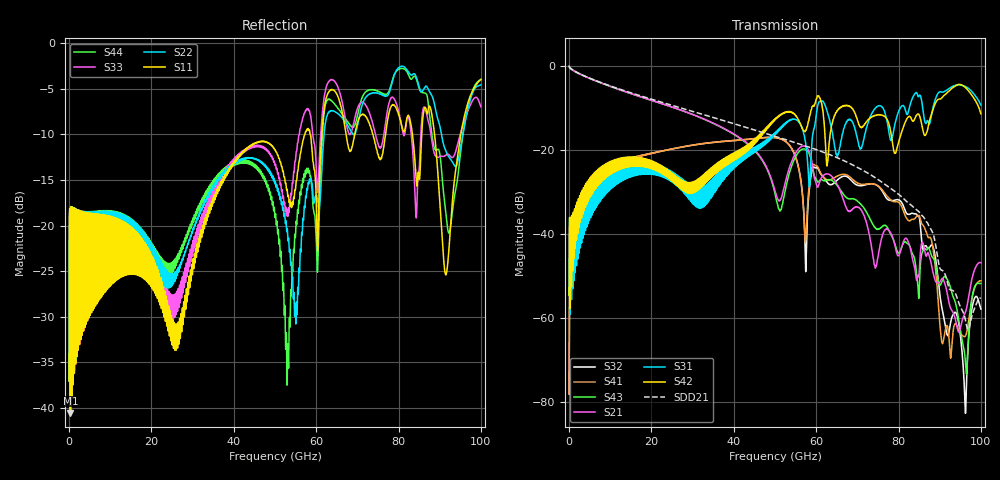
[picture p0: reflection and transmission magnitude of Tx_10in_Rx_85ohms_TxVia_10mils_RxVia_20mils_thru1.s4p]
! Info: Touchstone file created by Circ.  Input file=Tx_10in_Rx_85ohms_TxVia_10mils_RxVia_20mils.circ
# Hz S RI R 50
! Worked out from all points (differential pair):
!   10000 points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, 10 MHz to 100 GHz, reference 50 ohm
!   strongest paths, dB at 10 MHz, 25.01 GHz, 50.01 GHz, 75.01 GHz, 100 GHz:
!     S42: -54.7, -27.5, -12.7, -11.7, -11.5
!     S31: -54.7, -27.7, -16.0, -9.6, -9.4
!     S21: -0.1, -9.8, -29.8, -45.6, -46.9
!     S43: -0.1, -9.9, -30.4, -39.0, -51.8
!     S41: -78.2, -19.8, -17.1, -28.6, -51.2
!     S32: -78.2, -19.8, -17.1, -28.6, -57.9
!   taken as a pair (ports 1,3 in; 2,4 out), SDD21 dB: -0.1, -9.4, -16.8, -27.1, -55.4
!   lowest |S11| = -40.5 dB at 320 MHz (marker M1), VSWR 1.02, Z = 49.3 - j0.608 ohm
!   |S11| at or under -10 dB: start of sweep to 57.27 GHz; 73.79 GHz to 76.85 GHz (3.058 GHz wide, 4.06 % of centre); 88.75 GHz to 95.14 GHz (6.39 GHz wide, 6.95 % of centre) (the widest 3 of 6)
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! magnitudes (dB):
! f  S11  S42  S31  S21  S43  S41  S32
! 10 MHz  -37.0  -54.7  -54.7  -0.1  -0.1  -78.2  -78.2
! 320 MHz  -40.5  -46.2  -46.2  -0.6  -0.6  -49.5  -49.5
! 7.33 GHz  -26.4  -24.6  -25.6  -3.9  -3.9  -25.7  -25.7
! 49.29 GHz  -11.3  -13.3  -16.6  -27.4  -27.8  -17.1  -17.1
! 84.62 GHz  -15.0  -11.5  -6.9  -50.3  -51.5  -35.8  -35.8
! 96.15 GHz  -7.7  -5.1  -4.9  -58.9  -69.5  -64.5  -80.9
! 100 GHz  -4.0  -11.5  -9.4  -46.9  -51.8  -51.2  -57.9
